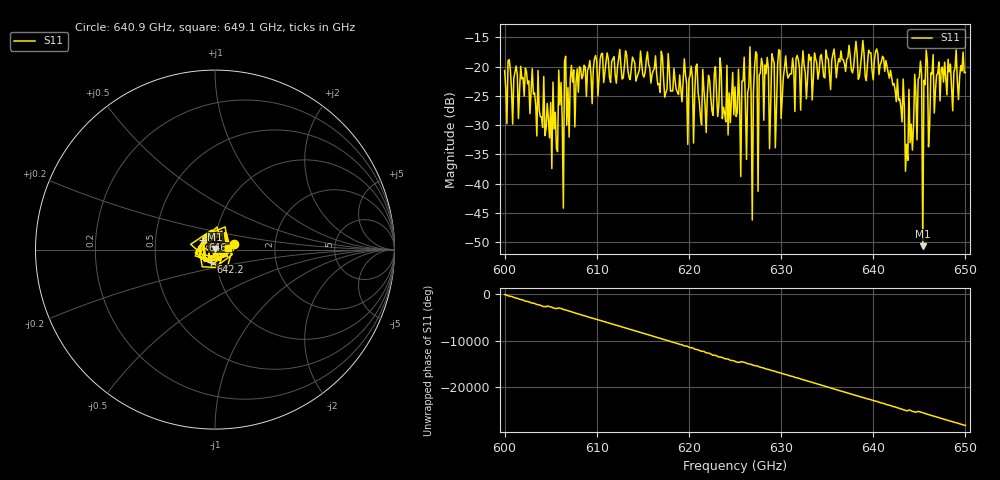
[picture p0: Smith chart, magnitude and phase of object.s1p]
!Created with skrf (http://scikit-rf.org).
# GHz S MA R 50.0
!freq magS11 angS11
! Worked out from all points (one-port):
!   401 points, 600 GHz to 650 GHz, reference 50 ohm
!   lowest |S11| = -50.7 dB at 645.4 GHz (marker M1), VSWR 1.01, Z = 50.1 + j0.281 ohm
!   |S11| at or under -10 dB: start of sweep to end of sweep
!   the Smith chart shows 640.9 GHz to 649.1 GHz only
!   S11 on the Smith chart (normalised r, x): 640.9 GHz: 1.23, +0.08; 642.2 GHz: 0.95, -0.13; 646.4 GHz: 0.87, +0.10; 649.1 GHz: 1.16, +0.03
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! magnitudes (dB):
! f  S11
! 600 GHz  -20.7
! 602.4 GHz  -20.9
! 604.9 GHz  -32.2
! 606.2 GHz  -28.9
! 608.4 GHz  -22.1
! 612.5 GHz  -17.1
! 618.8 GHz  -24.4
! 625 GHz  -23.5
! 625.2 GHz  -27.8
! 625.4 GHz  -20.4
! 626 GHz  -18.4
! 627 GHz  -24.5
! 628 GHz  -19.7
! 628.6 GHz  -20.4
! 631.2 GHz  -18.5
! 637.5 GHz  -18.2
! 640.9 GHz  -19.2
! 642.2 GHz  -22.9
! 643.1 GHz  -29.4
! 643.8 GHz  -36.0
! 645 GHz  -21.8
! 645.1 GHz  -19.1
! 645.4 GHz  -50.7
! 645.6 GHz  -23.1
! 645.8 GHz  -17.2
! 646.4 GHz  -21.3
! 649.1 GHz  -22.5
! 650 GHz  -21.0
